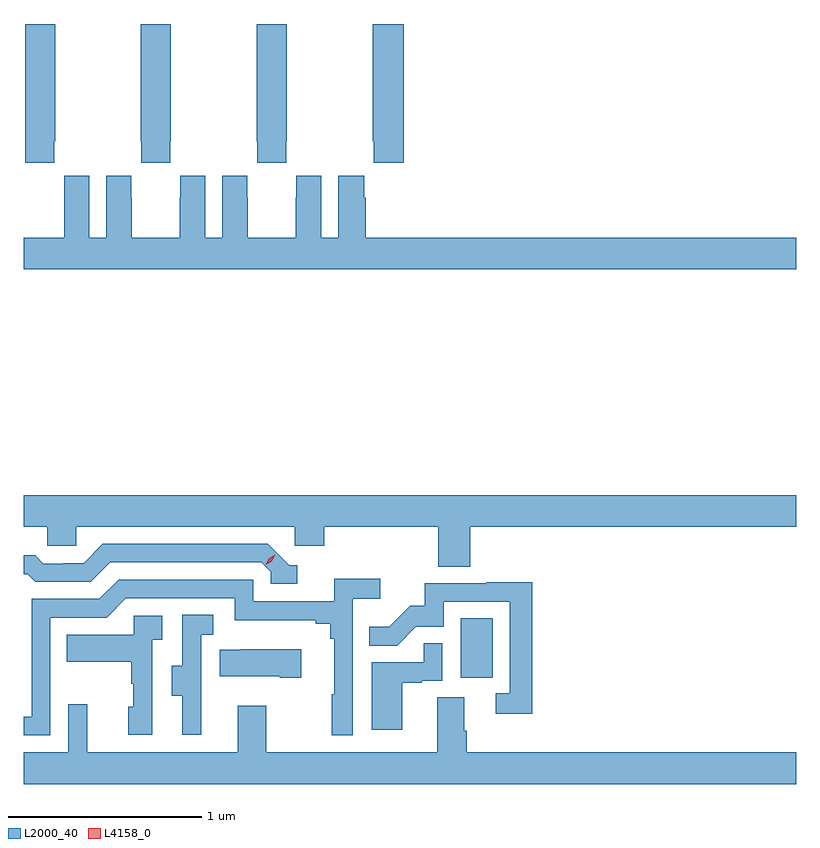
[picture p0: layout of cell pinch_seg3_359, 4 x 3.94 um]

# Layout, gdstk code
import gdstk
lib = gdstk.Library(unit=1e-6, precision=1e-09)
def R(c, l, rs):  # rectangles x0, y0, x1, y1
    for r in rs: c.add(gdstk.rectangle(r[:2], r[2:], *l))
def P(c, l, *ps):  # polygons
    for p in ps: c.add(gdstk.Polygon(p, *l))
L2000_40 = (2000, 40)
L4158_0 = (4158, 0)

pinch_seg3_359 = lib.new_cell('pinch_seg3_359')
R(pinch_seg3_359, L2000_40, [(962.12,692.142,962.284,692.449)])
P(pinch_seg3_359, L2000_40, [(960.015,694.921),(960.018,694.921),(960.018,695.527),(959.863,695.527),(959.863,694.921),(959.865,694.921),(959.865,694.809),(960.015,694.809)],
  [(960.615,694.921),(960.618,694.921),(960.618,695.527),(960.463,695.527),(960.463,694.921),(960.465,694.921),(960.465,694.809),(960.615,694.809)],
  [(961.215,694.921),(961.218,694.921),(961.218,695.527),(961.063,695.527),(961.063,694.921),(961.065,694.921),(961.065,694.809),(961.215,694.809)],
  [(961.823,695.527),(961.663,695.527),(961.663,694.921),(961.669,694.921),(961.669,694.809),(961.823,694.809)],
  [(963.856,694.42),(961.628,694.42),(961.628,694.628),(961.618,694.628),(961.618,694.741),(961.484,694.741),(961.484,694.42),(961.396,694.42),(961.396,694.741),(961.266,694.741),(961.266,694.628),(961.265,694.628),(961.265,694.42),(961.015,694.42),(961.015,694.628),(961.014,694.628),(961.014,694.741),(960.884,694.741),(960.884,694.42),(960.796,694.42),(960.796,694.741),(960.666,694.741),(960.666,694.628),(960.665,694.628),(960.665,694.42),(960.415,694.42),(960.415,694.628),(960.414,694.628),(960.414,694.741),(960.284,694.741),(960.284,694.42),(960.196,694.42),(960.196,694.741),(960.066,694.741),(960.066,694.628),(960.065,694.628),(960.065,694.42),(959.856,694.42),(959.856,694.256),(963.856,694.256)],
  [(962.168,692.924),(963.856,692.924),(963.856,693.088),(959.856,693.088),(959.856,692.924),(959.979,692.924),(959.979,692.826),(960.129,692.826),(960.129,692.924),(961.26,692.924),(961.26,692.826),(961.412,692.826),(961.412,692.924),(962.003,692.924),(962.003,692.716),(962.168,692.716)],
  [(961.273,692.724),(961.23,692.724),(961.119,692.835),(960.266,692.835),(960.167,692.736),(960.06,692.736),(960.06,692.733),(959.957,692.733),(959.915,692.776),(959.856,692.776),(959.856,692.679),(959.876,692.679),(959.915,692.64),(960.204,692.64),(960.303,692.739),(961.086,692.739),(961.134,692.691),(961.134,692.628),(961.273,692.628)],
  [(959.994,692.454),(960.285,692.454),(960.384,692.553),(960.948,692.553),(960.948,692.441),(961.367,692.441),(961.367,692.422),(961.444,692.422),(961.444,692.345),(961.463,692.345),(961.463,692.057),(961.452,692.057),(961.452,691.845),(961.56,691.845),(961.56,692.552),(961.702,692.552),(961.702,692.654),(961.463,692.654),(961.463,692.538),(961.044,692.538),(961.044,692.649),(960.347,692.649),(960.248,692.55),(959.898,692.55),(959.898,691.941),(959.856,691.941),(959.856,691.845),(959.994,691.845)],
  [(962.489,692.636),(962.251,692.636),(962.251,692.631),(961.933,692.631),(961.933,692.514),(961.856,692.514),(961.749,692.407),(961.645,692.407),(961.645,692.308),(961.789,692.308),(961.887,692.406),(962.031,692.406),(962.031,692.535),(962.373,692.535),(962.373,692.061),(962.301,692.061),(962.301,691.956),(962.489,691.956)],
  [(960.776,692.061),(960.774,692.061),(960.774,692.365),(960.838,692.365),(960.838,692.468),(960.678,692.468),(960.678,692.205),(960.623,692.205),(960.623,692.05),(960.677,692.05),(960.677,691.848),(960.776,691.848)],
  [(960.522,692.339),(960.574,692.339),(960.574,692.463),(960.426,692.463),(960.426,692.365),(960.079,692.365),(960.079,692.225),(960.414,692.225),(960.414,692.111),(960.424,692.111),(960.424,691.992),(960.398,691.992),(960.398,691.848),(960.522,691.848)],
  [(961.816,692.115),(961.916,692.115),(961.916,692.127),(962.022,692.127),(962.022,692.321),(961.927,692.321),(961.927,692.223),(961.658,692.223),(961.658,691.872),(961.816,691.872)],
  [(961.294,692.29),(960.979,692.29),(960.979,692.287),(960.871,692.287),(960.871,692.15),(961.181,692.15),(961.181,692.143),(961.294,692.143)],
  [(963.856,691.756),(962.15,691.756),(962.15,691.868),(962.137,691.868),(962.137,692.042),(961.997,692.042),(961.997,691.756),(961.113,691.756),(961.113,691.996),(960.965,691.996),(960.965,691.756),(960.185,691.756),(960.185,692.005),(960.087,692.005),(960.087,691.756),(959.856,691.756),(959.856,691.592),(963.856,691.592)])
P(pinch_seg3_359, L4158_0, [(961.108,692.727),(961.108,692.727),(961.125,692.759),(961.155,692.778),(961.156,692.778),(961.156,692.778),(961.139,692.746),(961.109,692.727)])

lib.write_gds('pinch_seg3_359.gds')
